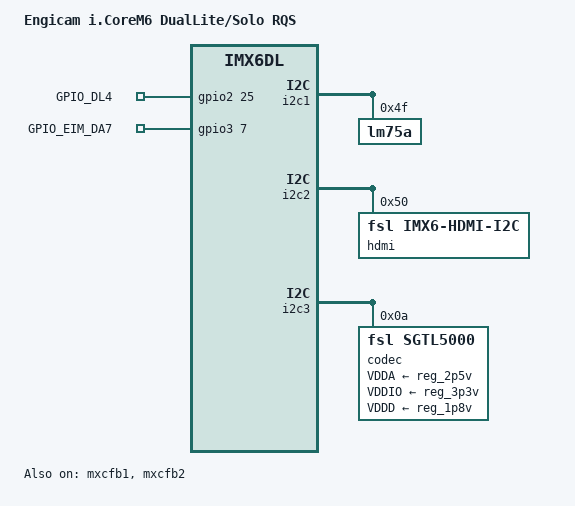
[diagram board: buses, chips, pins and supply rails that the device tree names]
/*
 * Copyright (C) 2013 Freescale Semiconductor, Inc.
 *
 * This program is free software; you can redistribute it and/or modify
 * it under the terms of the GNU General Public License version 2 as
 * published by the Free Software Foundation.
 */

/dts-v1/;

#include "imx6dl.dtsi"
#include "icorem6qdl-rqs.dtsi"

/ {
	model = "Engicam i.CoreM6 DualLite/Solo RQS";
	compatible = "fsl,imx6-icore-rqs", "fsl,imx6dl";
	
	aliases {
		mmc1 = &usdhc4;
		mmc0 = &usdhc3;
		mmc2 = &usdhc1;
	};

	gpio_export {
		compatible = "gpio-export";
		#size-cells = <0>;
		GPIO_DL4 {
		        gpio-export,name = "GPIO_DL4";
			gpio-export,output = <1>;
                        gpio-export,direction_may_change;
		        gpios = <&gpio2 25 0>;
		};
				
		GPIO_EIM_DA7 {
			gpio-export,name = "GPIO_EIM_DA7";
			gpio-export,input = <1>;
			gpios = <&gpio3 7 0>;
		};		
		
	};
};

&ldb {
	ipu_id = <0>;
	sec_ipu_id = <0>;
};

&mxcfb1 {
	status = "okay";
};

&mxcfb2 {
	status = "okay";
};

&i2c1 {

	lm75a@4F {
		compatible = "lm75a";
		reg = <0x4F>;
	};

};

&i2c2 {

	hdmi: edid@50 {
		compatible = "fsl,imx6-hdmi-i2c";
		reg = <0x50>;
	};

};


&i2c3 {

	codec: sgtl5000@0a {
		compatible = "fsl,sgtl5000";
		reg = <0x0a>;
		clocks = <&clks 201>;
		VDDA-supply = <&reg_2p5v>;
		VDDIO-supply = <&reg_3p3v>;
		VDDD-supply = <&reg_1p8v>;
	};

};

&iomuxc {
	pinctrl-names = "default";
	pinctrl-0 = <&pinctrl_hog>;	
	hog {
		pinctrl_hog: hoggrp {
			fsl,pins = <
				MX6QDL_PAD_EIM_D19__GPIO3_IO19 0x1f059 /* not used pin for ADV7180 driver compatibility */
				MX6QDL_PAD_EIM_OE__GPIO2_IO25 0x1f059 /* LED DL4*/
				MX6QDL_PAD_EIM_DA7__GPIO3_IO07 0x1f059 /* EIM_DA07 forced to GPIO in */
			>;
		};
	};
};
